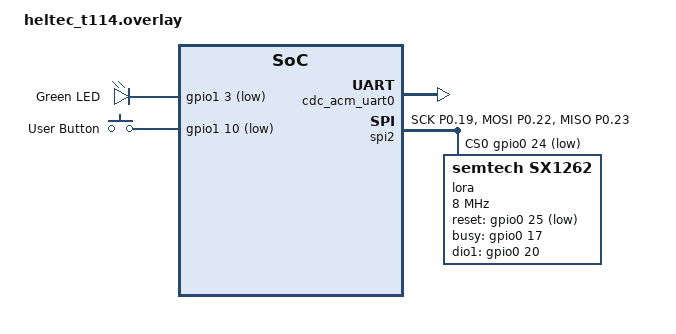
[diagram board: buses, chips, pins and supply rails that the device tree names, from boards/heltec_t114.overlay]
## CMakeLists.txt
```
cmake_minimum_required(VERSION 3.20.0)
include(${CMAKE_CURRENT_LIST_DIR}/../../lichen/cmake/lichen_build_epoch.cmake)
lichen_configure_time_build_epoch()
find_package(Zephyr REQUIRED HINTS $ENV{ZEPHYR_BASE})
project(lichen_bridge)

target_sources(app PRIVATE
    src/main.c
)

# LICHEN L2 headers from the module (needed for app includes like ipv6_addr.h, crash_info.h)
target_include_directories(app PRIVATE
    ${CMAKE_CURRENT_SOURCE_DIR}/../../lichen/subsys/lichen/l2
)
```

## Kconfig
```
# SPDX-License-Identifier: GPL-3.0-or-later
# SPDX-FileCopyrightText: The contributors to the LICHEN project

# Application-level Kconfig

# Source Zephyr base configuration
source "Kconfig.zephyr"
```

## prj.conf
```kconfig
# LICHEN LoRa Bridge - Zephyr config
#
# Common settings for all boards.
# Board-specific settings go in boards/<board>.conf

# Logging
CONFIG_LOG=y
CONFIG_PRINTK=y
CONFIG_LOG_MODE_IMMEDIATE=y

# SPI is used by supported LoRa board overlays. Boards without a LoRa radio
# leave CONFIG_LORA/CONFIG_LICHEN_LORA_L2 disabled.
CONFIG_SPI=y

# GPIO for LED
CONFIG_GPIO=y

# Random number generator (fallback for EUI-64 if no hwinfo)
CONFIG_ENTROPY_GENERATOR=y
CONFIG_TEST_RANDOM_GENERATOR=y

# Hardware info for stable EUI-64 identity
CONFIG_HWINFO=y

# LICHEN subsystem
CONFIG_LICHEN=y
CONFIG_LICHEN_IPV6=y

# Full Zephyr networking is required for LoRa RX ingress. The legacy
# standalone LICHEN_LORA_L2 mode is disabled because it dropped inbound frames.
CONFIG_NETWORKING=y
CONFIG_NET_IPV6=y
CONFIG_NET_IPV4=n
CONFIG_NET_PKT_RX_COUNT=8
CONFIG_NET_PKT_TX_COUNT=8
CONFIG_NET_BUF_RX_COUNT=16
CONFIG_NET_BUF_TX_COUNT=16

# Safety (spec appendix-c-safety)
CONFIG_STACK_CANARIES=y
CONFIG_STACK_SENTINEL=y
CONFIG_ASSERT=y
CONFIG_ASSERT_VERBOSE=y

# TinyCrypt for SHA-256 (required by lichen_pubkey_to_iid)
CONFIG_TINYCRYPT=y
CONFIG_TINYCRYPT_SHA256=y

# Routing subsystem (required for announce scheduler)
CONFIG_LICHEN_ROUTING=y

# Periodic announce transmission (spec 9.4)
# Announces node presence every 300s with 0-30s jitter
CONFIG_LICHEN_ANNOUNCE_SCHEDULER=y
```

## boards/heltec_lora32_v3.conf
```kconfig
# Heltec WiFi LoRa 32 V3 board-specific config
#
# ESP32-S3 uses native USB CDC for console.

# USB CDC-ACM serial
CONFIG_USB_DEVICE_STACK=y
CONFIG_USB_CDC_ACM=y
CONFIG_USB_DEVICE_INITIALIZE_AT_BOOT=y
CONFIG_UART_INTERRUPT_DRIVEN=y

# SPI for SX1262
CONFIG_LORA=y
CONFIG_SPI=y
```

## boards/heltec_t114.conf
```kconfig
# STALE/RETIRED per project-LICHEN-2u26.1: no demonstrated canonical Zephyr 3.7 target. Fragment retired per 2u26 audit.
# Heltec Mesh Node T114 board-specific config
#
# nRF52840 with native USB CDC-ACM.

# USB CDC-ACM serial
CONFIG_USB_DEVICE_STACK=y
CONFIG_USB_CDC_ACM=y
CONFIG_USB_DEVICE_INITIALIZE_AT_BOOT=y
CONFIG_UART_INTERRUPT_DRIVEN=y
CONFIG_USB_DEVICE_VID=0x239A
CONFIG_USB_DEVICE_PID=0x0029
CONFIG_USB_DEVICE_PRODUCT="LICHEN LoRa Bridge"
CONFIG_USB_DEVICE_MANUFACTURER="LICHEN"

# SPI for SX1262
CONFIG_LORA=y
CONFIG_SPI=y
```

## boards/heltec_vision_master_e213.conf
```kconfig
# SPDX-License-Identifier: GPL-3.0-or-later
# SPDX-FileCopyrightText: The contributors to the LICHEN project
#
# STALE bridge fragment: heltec_vision_master_e213 has no canonical Zephyr board target
# (no matching board in Zephyr tree, lichen/boards/, or HWMv2 selector).
# Retired per project-LICHEN-2u26.2 / 2u26 (bridge mapping only). Do not use.
# See docs/firmware-board-capability-matrix.md: partner-owned long tail.
# Heltec Vision Master E213 board-specific config
#
# ESP32-S3 with USB-C uses native USB CDC for console.

# USB CDC-ACM serial
CONFIG_USB_DEVICE_STACK=y
CONFIG_USB_CDC_ACM=y
CONFIG_USB_DEVICE_INITIALIZE_AT_BOOT=y
CONFIG_UART_INTERRUPT_DRIVEN=y

# SPI for SX1262
CONFIG_LORA=y
CONFIG_SPI=y
```

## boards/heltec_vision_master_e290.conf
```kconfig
# SPDX-License-Identifier: GPL-3.0-or-later
# SPDX-FileCopyrightText: The contributors to the LICHEN project
#
# STALE bridge fragment: heltec_vision_master_e290 has no canonical Zephyr board target
# (no matching board in Zephyr tree, lichen/boards/, or HWMv2 selector).
# Retired per project-LICHEN-2u26.3 / 2u26 (bridge mapping scoped). Do not use for builds.
# See docs/firmware-board-capability-matrix.md: partner-owned long tail.
# Heltec Vision Master E290 board-specific config
#
# ESP32-S3 with USB-C uses native USB CDC for console.

# USB CDC-ACM serial
CONFIG_USB_DEVICE_STACK=y
CONFIG_USB_CDC_ACM=y
CONFIG_USB_DEVICE_INITIALIZE_AT_BOOT=y
CONFIG_UART_INTERRUPT_DRIVEN=y

# SPI for SX1262
CONFIG_LORA=y
CONFIG_SPI=y
```

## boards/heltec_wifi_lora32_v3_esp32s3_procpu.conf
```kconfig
# SPDX-License-Identifier: GPL-3.0-or-later
# SPDX-FileCopyrightText: The contributors to the LICHEN project
#
# Heltec WiFi LoRa 32 V3 gateway config — ESP32-S3 + SX1262 for bridge-zephyr
# WiFi backhaul, UART console on UART1.
CONFIG_LORA=y
CONFIG_LORA_SX126X=y
CONFIG_LICHEN_HAS_LORA=y
CONFIG_LICHEN_RADIO_MODEL_SX126X=y

# WiFi Kconfig fix for ESP32-S3 Heltec V3 (espressif driver, not CONFIG_ESP32_WIFI_STA)
CONFIG_WIFI=y
CONFIG_WIFI_NM=y
CONFIG_ESP_WIFI_ENABLED=y
CONFIG_ESP_WIFI_STA_DISCONNECTED_PM_ENABLE=y

# Bench: UART1 console for non-destructive serial monitoring (avoids CP2102 reset on UART0, see lora_ipv6_mesh-9ia2)
# CONFIG_UART_INTERRUPT_DRIVEN required for Zephyr shell/uart driver on ESP32 (polling insufficient for interactive use)
CONFIG_UART_CONSOLE=y
CONFIG_CONSOLE=y
CONFIG_SERIAL=y
CONFIG_UART_INTERRUPT_DRIVEN=y
```

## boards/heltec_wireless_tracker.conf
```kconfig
# SPDX-License-Identifier: GPL-3.0-or-later
# SPDX-FileCopyrightText: The contributors to the LICHEN project
#
# STALE bridge fragment: heltec_wireless_tracker has no canonical Zephyr board target
# (no matching board in Zephyr tree, lichen/boards/, or HWMv2 selector).
# Retired per project-LICHEN-2u26.4 / 2u26 (bridge mapping scoped). Do not use for builds.
# See docs/firmware-board-capability-matrix.md: partner-owned long tail.
# Heltec Wireless Tracker V1.1 board-specific config
#
# ESP32-S3 uses UART0 for console (USB CDC disabled per overlay).

# Disable USB CDC (use UART0 console)
CONFIG_USB_DEVICE_STACK=n
CONFIG_USB_CDC_ACM=n

# UART console
CONFIG_SERIAL=y
CONFIG_CONSOLE=y
CONFIG_UART_CONSOLE=y

# SPI for SX1262
CONFIG_LORA=y
CONFIG_SPI=y
```

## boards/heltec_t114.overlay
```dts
/*
 * Heltec Mesh Node T114 device tree overlay for LICHEN bridge
 *
 * nRF52840 + SX1262 LoRa + optional 1.14" ST7789 TFT + L76K GPS
 *
 * SX1262 SPI pins:
 *   MOSI  = P0.22
 *   MISO  = P0.23
 *   SCK   = P0.19
 *   NSS   = P0.24
 *
 * SX1262 control pins:
 *   RESET = P0.25
 *   BUSY  = P0.17
 *   DIO1  = P0.20
 *   VEXT  = P0.21 (external power control)
 *
 * GPS L76K UART (optional module):
 *   RX    = P1.05 (37)   PPS     = P1.04 (36)
 *   TX    = P1.07 (39)   STANDBY = P1.02 (34)
 *
 * ST7789 Display (optional accessory):
 *   MOSI  = P1.09 (41)   DC      = P0.12
 *   SCK   = P1.08 (40)   RST     = P0.02
 *   CS    = P0.11        BL      = P0.15
 *
 * User button: P1.10 (active low)
 * LED: Green P1.03
 * Battery ADC: P0.04 (control: P0.06)
 */

#include <zephyr/dt-bindings/lora/sx126x.h>

/ {
	chosen {
		zephyr,console = &cdc_acm_uart0;
		zephyr,shell-uart = &cdc_acm_uart0;
	};

	aliases {
		led0 = &green_led;
		lora0 = &lora;
		sw0 = &button0;
	};

	leds {
		compatible = "gpio-leds";
		green_led: led_0 {
			gpios = <&gpio1 3 GPIO_ACTIVE_LOW>;
			label = "Green LED";
		};
	};

	buttons {
		compatible = "gpio-keys";
		button0: button_0 {
			gpios = <&gpio1 10 (GPIO_PULL_UP | GPIO_ACTIVE_LOW)>;
			label = "User Button";
		};
	};
};

&zephyr_udc0 {
	cdc_acm_uart0: cdc_acm_uart0 {
		compatible = "zephyr,cdc-acm-uart";
	};
};

/* SX1262 on SPI2 */
&spi2 {
	status = "okay";
	pinctrl-0 = <&spi2_default>;
	pinctrl-1 = <&spi2_sleep>;
	pinctrl-names = "default", "sleep";
	cs-gpios = <&gpio0 24 GPIO_ACTIVE_LOW>;  /* P0.24 = NSS */

	lora: sx1262@0 {
		compatible = "semtech,sx1262";
		reg = <0>;
		spi-max-frequency = <8000000>;
		reset-gpios = <&gpio0 25 GPIO_ACTIVE_LOW>;   /* P0.25 = RST */
		busy-gpios = <&gpio0 17 GPIO_ACTIVE_HIGH>;   /* P0.17 = BUSY */
		dio1-gpios = <&gpio0 20 GPIO_ACTIVE_HIGH>;   /* P0.20 = DIO1 */
		/* DIO2 controls RF switch internally */
		dio2-tx-enable;
		/* 1.8V TCXO controlled by DIO3 */
		dio3-tcxo-voltage = <SX126X_DIO3_TCXO_1V8>;
		tcxo-power-startup-delay-ms = <5>;
	};
};

&pinctrl {
	spi2_default: spi2_default {
		group1 {
			psels = <NRF_PSEL(SPIM_SCK, 0, 19)>,
				<NRF_PSEL(SPIM_MOSI, 0, 22)>,
				<NRF_PSEL(SPIM_MISO, 0, 23)>;
		};
	};

	spi2_sleep: spi2_sleep {
		group1 {
			psels = <NRF_PSEL(SPIM_SCK, 0, 19)>,
				<NRF_PSEL(SPIM_MOSI, 0, 22)>,
				<NRF_PSEL(SPIM_MISO, 0, 23)>;
			low-power-enable;
		};
	};
};
```

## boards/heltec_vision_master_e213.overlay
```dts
# SPDX-License-Identifier: GPL-3.0-or-later
# SPDX-FileCopyrightText: The contributors to the LICHEN project
/*
 * STALE bridge fragment: heltec_vision_master_e213 has no canonical Zephyr
 * board target (no matching board in Zephyr tree, lichen/boards/, or HWMv2
 * selector). Retired per project-LICHEN-2u26.2 / 2u26 (bridge mapping scoped).
 * Do not use for builds. See docs/firmware-board-capability-matrix.md.
 *
 * Heltec Vision Master E213 device tree overlay for LICHEN bridge
 *
 * ESP32-S3 + SX1262 LoRa + 2.13" E-ink display
 *
 * SX1262 SPI pins:
 *   SCK  = GPIO9
 *   MISO = GPIO11
 *   MOSI = GPIO10
 *   NSS  = GPIO8
 *
 * SX1262 control pins:
 *   RESET = GPIO12
 *   BUSY  = GPIO13 (active high, directly wired to DIO2)
 *   DIO1  = GPIO14
 *
 * E-ink display (not used by bridge):
 *   CS   = GPIO5
 *   BUSY = GPIO1
 *   DC   = GPIO2
 *   RES  = GPIO3
 *   SCLK = GPIO4
 *   MOSI = GPIO6
 *
 * Vext power control = GPIO18 (active high)
 * ADC control = GPIO46
 * Battery ADC = GPIO7
 * LED power = GPIO45
 * User button = GPIO21
 */

#include <zephyr/dt-bindings/pinctrl/esp32s3-pinctrl.h>

/ {
	chosen {
		zephyr,console = &usb_serial;
		zephyr,shell-uart = &usb_serial;
	};

	aliases {
		lora0 = &lora;
	};
};

&pinctrl {
	/* SPI2 for SX1262 */
	spim2_default: spim2_default {
		group1 {
			pinmux = <SPIM2_MISO_GPIO11>,
				 <SPIM2_SCLK_GPIO9>;
		};
		group2 {
			pinmux = <SPIM2_MOSI_GPIO10>;
			output-low;
		};
	};
};

&usb_serial {
	status = "okay";
};

&spi2 {
	status = "okay";
	#address-cells = <1>;
	#size-cells = <0>;
	pinctrl-0 = <&spim2_default>;
	pinctrl-names = "default";
	cs-gpios = <&gpio0 8 GPIO_ACTIVE_LOW>;  /* NSS = GPIO8 */

	lora: sx1262@0 {
		compatible = "semtech,sx1262";
		reg = <0>;
		spi-max-frequency = <8000000>;
		reset-gpios = <&gpio0 12 GPIO_ACTIVE_LOW>;  /* RESET = GPIO12 */
		busy-gpios = <&gpio0 13 GPIO_ACTIVE_HIGH>;  /* BUSY = GPIO13 */
		dio1-gpios = <&gpio0 14 GPIO_ACTIVE_HIGH>;  /* DIO1 = GPIO14 */
		/* DIO2 controls RF switch internally on SX1262 */
		dio2-tx-enable;
	};
};

&gpio0 {
	status = "okay";
};

&gpio1 {
	status = "okay";
};
```

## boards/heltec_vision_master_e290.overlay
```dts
/*
 * STALE bridge fragment: heltec_vision_master_e290 has no canonical Zephyr
 * board target (no matching board in Zephyr tree, lichen/boards/, or HWMv2
 * selector). Retired per project-LICHEN-2u26.3 / 2u26 (bridge mapping only).
 * Do not use for builds. See docs/firmware-board-capability-matrix.md.
 *
 * Heltec Vision Master E290 device tree overlay for LICHEN bridge
 *
 * ESP32-S3 + SX1262 LoRa + 2.9" E-ink display
 *
 * SX1262 SPI pins (same as E213):
 *   SCK  = GPIO9
 *   MISO = GPIO11
 *   MOSI = GPIO10
 *   NSS  = GPIO8
 *
 * SX1262 control pins (same as E213):
 *   RESET = GPIO12
 *   BUSY  = GPIO13 (active high, directly wired to DIO2)
 *   DIO1  = GPIO14
 *
 * E-ink display (not used by bridge, pins differ from E213):
 *   CS   = GPIO3
 *   BUSY = GPIO6
 *   DC   = GPIO4
 *   RES  = GPIO5
 *   SCLK = GPIO2
 *   MOSI = GPIO1
 *
 * Vext power control = GPIO18 (active high)
 * ADC control = GPIO46
 * Battery ADC = GPIO7
 * LED power = GPIO45
 * User button = GPIO21
 */

#include <zephyr/dt-bindings/pinctrl/esp32s3-pinctrl.h>

/ {
	chosen {
		zephyr,console = &usb_serial;
		zephyr,shell-uart = &usb_serial;
	};

	aliases {
		lora0 = &lora;
	};
};

&pinctrl {
	/* SPI2 for SX1262 */
	spim2_default: spim2_default {
		group1 {
			pinmux = <SPIM2_MISO_GPIO11>,
				 <SPIM2_SCLK_GPIO9>;
		};
		group2 {
			pinmux = <SPIM2_MOSI_GPIO10>;
			output-low;
		};
	};
};

&usb_serial {
	status = "okay";
};

&spi2 {
	status = "okay";
	#address-cells = <1>;
	#size-cells = <0>;
	pinctrl-0 = <&spim2_default>;
	pinctrl-names = "default";
	cs-gpios = <&gpio0 8 GPIO_ACTIVE_LOW>;  /* NSS = GPIO8 */

	lora: sx1262@0 {
		compatible = "semtech,sx1262";
		reg = <0>;
		spi-max-frequency = <8000000>;
		reset-gpios = <&gpio0 12 GPIO_ACTIVE_LOW>;  /* RESET = GPIO12 */
		busy-gpios = <&gpio0 13 GPIO_ACTIVE_HIGH>;  /* BUSY = GPIO13 */
		dio1-gpios = <&gpio0 14 GPIO_ACTIVE_HIGH>;  /* DIO1 = GPIO14 */
		/* DIO2 controls RF switch internally on SX1262 */
		dio2-tx-enable;
	};
};

&gpio0 {
	status = "okay";
};

&gpio1 {
	status = "okay";
};
```

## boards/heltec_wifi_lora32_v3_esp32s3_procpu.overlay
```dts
/ {
	chosen {
		zephyr,lora = &lora0;
		/* Bench: non-destructive console on UART1 (GPIO21/22) to fix CP2102 reset (lora_ipv6_mesh-9ia2) */
		zephyr,console = &uart1;
		zephyr,shell-uart = &uart1;
	};
};

/* UART1 enabled for bench serial testing (dtr=False, rts=False, lora_ipv6_mesh-9ia2) */
&uart1 {
	status = "okay";
	current-speed = <115200>;
	pinctrl-0 = <&uart1_default>;
	pinctrl-names = "default";
};
```

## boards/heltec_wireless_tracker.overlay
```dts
# SPDX-License-Identifier: GPL-3.0-or-later
# SPDX-FileCopyrightText: The contributors to the LICHEN project
/*
 * STALE bridge fragment: heltec_wireless_tracker has no canonical Zephyr
 * board target (no matching board in Zephyr tree, lichen/boards/, or HWMv2
 * selector). Retired per project-LICHEN-2u26.4 / 2u26 (bridge mapping scoped).
 * Do not use for builds. See docs/firmware-board-capability-matrix.md for
 * partner-owned long tail policy.
 *
 * Resolved merge conflict for project-LICHEN-pn4o (worktree-worker1), project-LICHEN-pzbh (worktree-worker17): heltec_wireless_tracker.overlay.
 * Standardized STALE comment, SPDX header, and consolidated resolution note across parallel worktrees. Matches xiao_s3_wio_sx1262.conf pattern per no-dead-code and AGENTS.md. Cleaned in subsequent passes.
 *
 * Heltec Wireless Tracker V1.1 device tree overlay for LICHEN bridge
 *
 * ESP32-S3 + SX1262 LoRa + UC6580 GNSS + ST7735 TFT
 *
 * SX1262 SPI pins:
 *   SCK  = GPIO9
 *   MISO = GPIO11
 *   MOSI = GPIO10
 *   NSS  = GPIO8
 *
 * SX1262 control pins:
 *   RESET = GPIO12
 *   BUSY  = GPIO13
 *   DIO1  = GPIO14
 *
 * Display (ST7735, active but unused by bridge):
 *   MOSI = GPIO42, SCK = GPIO41, DC = GPIO40
 *   RST = GPIO39, CS = GPIO38, BL = GPIO21
 *
 * GNSS UC6580 (active but unused by bridge):
 *   RX = GPIO33, TX = GPIO34, PWR_EN = GPIO3 (HIGH to enable)
 */

#include <zephyr/dt-bindings/pinctrl/esp32s3-pinctrl.h>

/ {
	chosen {
		zephyr,console = &uart0;
		zephyr,shell-uart = &uart0;
	};

	aliases {
		lora0 = &lora;
	};
};

&pinctrl {
	/* SPI2 for SX1262 */
	spim2_default: spim2_default {
		group1 {
			pinmux = <SPIM2_MISO_GPIO11>,
				 <SPIM2_SCLK_GPIO9>;
		};
		group2 {
			pinmux = <SPIM2_MOSI_GPIO10>;
			output-low;
		};
	};
};

&spi2 {
	status = "okay";
	#address-cells = <1>;
	#size-cells = <0>;
	pinctrl-0 = <&spim2_default>;
	pinctrl-names = "default";
	cs-gpios = <&gpio0 8 GPIO_ACTIVE_LOW>;  /* NSS = GPIO8 */

	lora: sx1262@0 {
		compatible = "semtech,sx1262";
		reg = <0>;
		spi-max-frequency = <8000000>;
		reset-gpios = <&gpio0 12 GPIO_ACTIVE_LOW>;  /* RESET = GPIO12 */
		busy-gpios = <&gpio0 13 GPIO_ACTIVE_HIGH>;  /* BUSY = GPIO13 */
		dio1-gpios = <&gpio0 14 GPIO_ACTIVE_HIGH>;  /* DIO1 = GPIO14 */
		/* DIO2 controls RF switch internally */
		dio2-tx-enable;
	};
};

&uart0 {
	status = "okay";
	current-speed = <115200>;
};

&gpio0 {
	status = "okay";
};

&gpio1 {
	status = "okay";
};
```

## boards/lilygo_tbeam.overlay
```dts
/*
 * LilyGo T-Beam v1.2 device tree overlay for LICHEN bridge
 *
 * ESP32-WROVER + SX1262 LoRa
 *
 * SX1262 SPI pins:
 *   SCK  = GPIO5
 *   MISO = GPIO19
 *   MOSI = GPIO27
 *   NSS  = GPIO18
 *
 * SX1262 control pins:
 *   RESET = GPIO23
 *   BUSY  = GPIO32 (gpio1 pin 0)
 *   DIO1  = GPIO33 (gpio1 pin 1)
 */

#include <zephyr/dt-bindings/pinctrl/esp32-pinctrl.h>

/ {
	chosen {
		zephyr,console = &uart0;
		zephyr,shell-uart = &uart0;
	};

	aliases {
		led0 = &blue_led;
		lora0 = &lora;
	};

	leds {
		compatible = "gpio-leds";
		blue_led: led_0 {
			/* T-Beam blue LED on GPIO4 */
			gpios = <&gpio0 4 GPIO_ACTIVE_LOW>;
			label = "Blue LED";
		};
	};
};

&pinctrl {
	/* SPI2 for SX1262 */
	spim2_default: spim2_default {
		group1 {
			pinmux = <SPIM2_MISO_GPIO19>,
				 <SPIM2_SCLK_GPIO5>;
		};
		group2 {
			pinmux = <SPIM2_MOSI_GPIO27>;
			output-low;
		};
	};
};

&spi2 {
	status = "okay";
	#address-cells = <1>;
	#size-cells = <0>;
	pinctrl-0 = <&spim2_default>;
	pinctrl-names = "default";
	cs-gpios = <&gpio0 18 GPIO_ACTIVE_LOW>;  /* NSS = GPIO18 */

	lora: sx1262@0 {
		compatible = "semtech,sx1262";
		reg = <0>;
		spi-max-frequency = <8000000>;
		reset-gpios = <&gpio0 23 GPIO_ACTIVE_LOW>;  /* RESET = GPIO23 */
		busy-gpios = <&gpio1 0 GPIO_ACTIVE_HIGH>;   /* BUSY = GPIO32 */
		dio1-gpios = <&gpio1 1 GPIO_ACTIVE_HIGH>;   /* DIO1 = GPIO33 */
		/* DIO2 controls RF switch internally on most SX1262 modules */
		dio2-tx-enable;
	};
};

&uart0 {
	status = "okay";
	current-speed = <115200>;
};

&gpio0 {
	status = "okay";
};

&gpio1 {
	status = "okay";
};
```

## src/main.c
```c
/* SPDX-License-Identifier: GPL-3.0-or-later */
/* SPDX-FileCopyrightText: The contributors to the LICHEN project */

/*
 * LICHEN LoRa Bridge - Zephyr version
 * IPv6 mesh networking over LoRa.
 *
 * LED diagnostic patterns (led0 alias, if present):
 * - Solid on during init: normal startup in progress
 * - 3 rapid blinks (100ms on/off): USB CDC initialization failed
 * - Continuous 200ms blink (forever): network/L2 init failed
 * - Off after init: ready, normal operation
 */

#include <zephyr/kernel.h>
#include <zephyr/device.h>
#include <zephyr/drivers/gpio.h>
#include <zephyr/logging/log.h>

#if defined(CONFIG_USB_DEVICE_STACK)
#include <zephyr/usb/usb_device.h>
#endif

#if defined(CONFIG_LICHEN_IPV6)
#include "ipv6_addr.h"
#endif

#include "crash_info.h"

LOG_MODULE_REGISTER(main, LOG_LEVEL_INF);

/* LED (optional - not all boards have one) */
#if DT_NODE_EXISTS(DT_ALIAS(led0))
static const struct gpio_dt_spec led = GPIO_DT_SPEC_GET(DT_ALIAS(led0), gpios);
#define HAS_LED 1
static bool led_configured;

/**
 * @brief Set LED state with error logging
 *
 * Wrapper around gpio_pin_set_dt that logs errors. Since LED is non-critical,
 * we log but don't propagate errors.
 */
static inline void led_set(int value)
{
    /* No-op if led_configured is false (GPIO init failed) */
    if (led_configured) {
        int ret = gpio_pin_set_dt(&led, value);
        if (ret < 0) {
            LOG_ERR("main: LED gpio_pin_set_dt failed (%d)", ret);
        }
    }
}
#endif

#if defined(CONFIG_LICHEN_LORA_L2) && !defined(CONFIG_LICHEN_L2)
#error "CONFIG_LICHEN_LORA_L2 without CONFIG_LICHEN_L2 is disabled: enable full LICHEN_L2 networking so LoRa RX is framed, decompressed, and injected into IPv6"
#endif

int main(void)
{
    LOG_INF("main: starting");
    crash_info_check_and_clear();

#if defined(HAS_LED)
    /* LED pattern: solid on during init = startup in progress */
    if (gpio_is_ready_dt(&led)) {
        int led_ret = gpio_pin_configure_dt(&led, GPIO_OUTPUT_ACTIVE);
        if (led_ret < 0) {
            LOG_ERR("main: LED GPIO configure failed (%d)", led_ret);
        } else {
            led_configured = true;
            led_set(1);
        }
    }
#endif

#if defined(CONFIG_USB_DEVICE_STACK)
    int usb_ret = usb_enable(NULL);
    if (usb_ret != 0) {
        LOG_ERR("main: USB enable failed (%d)", usb_ret);
        /*
         * USB CDC failure means console output may not be visible.
         * Provide visual feedback via LED if available.
         *
         * Note: We continue startup despite USB failure. Console output may
         * go to UART instead (if available), and LoRa functionality can still
         * operate. The LED pattern provides visual indication of the failure.
         *
         * LED pattern: 3 rapid blinks (100ms) then off = non-fatal USB failure.
         * Distinct from fatal LoRa failure which is continuous 200ms blink.
         */
#if defined(HAS_LED)
        for (int i = 0; i < 3; i++) {
            led_set(1);
            k_sleep(K_MSEC(100));
            led_set(0);
            k_sleep(K_MSEC(100));
        }
#endif
        /* Turn LED off after error indication */
#if defined(HAS_LED)
        led_set(0);
#endif
    } else {
        k_sleep(K_MSEC(1000));
        LOG_INF("main: USB CDC ready");
    }
#else
    LOG_INF("main: UART console ready");
#endif

    /*
     * LICHEN_L2 initializes through NET_DEVICE_INIT. The old standalone
     * LICHEN_LORA_L2 path was removed because it accepted RX callbacks but
     * never parsed frames or injected IPv6 packets.
     */

#if defined(HAS_LED)
    /* LED pattern: off after init = ready, normal operation */
    led_set(0);
#endif

    LOG_INF("main: ready");

    while (1) {
        k_sleep(K_SECONDS(60));
        LOG_DBG("main: tick");
    }
}
```
